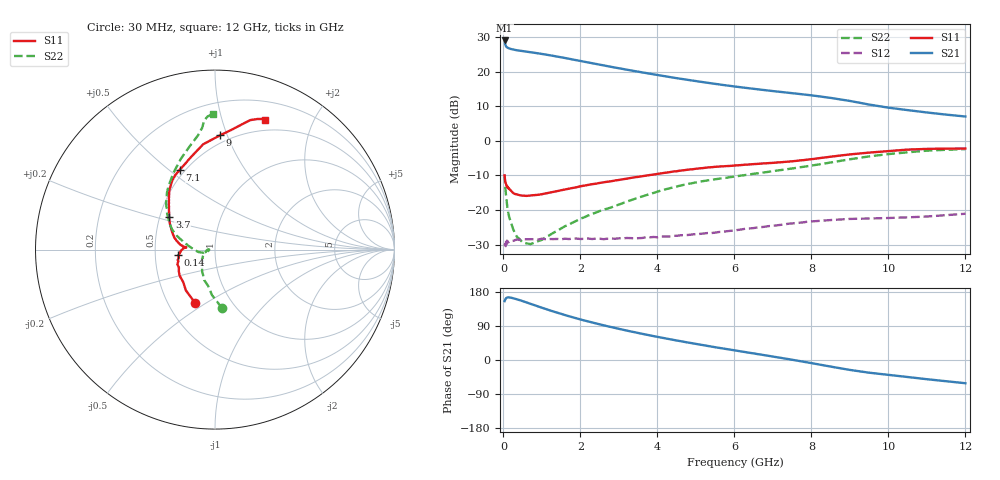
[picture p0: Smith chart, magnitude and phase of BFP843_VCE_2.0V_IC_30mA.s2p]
! Infineon Technologies  Discrete & RF Semiconductors
! BFP843
! VCE =  2.0 V,  IC =  30 mA
! Common Emitter S-Parameters:  Aug 2013
# GHz  S  MA  R  50
!  f  S11  S21  S12  S22
! GHz  MAG  ANG  MAG  ANG  MAG  ANG  MAG  ANG
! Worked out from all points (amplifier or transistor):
!   103 points, 30 MHz to 12 GHz, reference 50 ohm
!   highest |S21| = 29.0 dB at 30 MHz (marker M1)
!   |S21| within 3 dB of that: start of sweep to 455.3 MHz
!   unconditionally stable (mu >= 1): 79.34 MHz to 81.36 MHz; 98.17 MHz to 10.62 GHz
!   at 400 MHz: K = 1.03, MAG = 26.3 dB, |S12| = -28.6 dB
!   at 3.7 GHz: K = 1.36, MAG = 20.1 dB, |S12| = -27.9 dB
!   at 12 GHz: K = 0.85, MSG = 14.0 dB, |S12| = -21.0 dB
!   S11 on the Smith chart (normalised r, x): 30 MHz: 0.68, -0.45; 140 MHz: 0.66, -0.04; 3.7 GHz: 0.56, +0.23; 7.1 GHz: 0.47, +0.55; 9 GHz: 0.44, +0.94; 12 GHz: 0.38, +1.39
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0.03  0.3163 -110.7  28.09 155.3  0.0305 25.0  0.3289 -83.0
0.04  0.2791 -125.6  25.65 157.6  0.0323 18.6  0.2546 -93.7
0.05  0.2534 -134.3  24.39 160.8  0.0307 18.8  0.2042 -101.1
0.07  0.2349 -149.1  22.91 163.3  0.0367 14.3  0.1552 -115.4
0.1  0.2139 -162.6  22.18 164.9  0.0353 13.8  0.1114 -132.5
0.14  0.208 -171.1  21.66 165.2  0.0347 8.6  0.0838 -145.0
0.3  0.1708 177.0  20.52 161.7  0.0369 5.4  0.0463 -175.8
0.8  0.1647 175.8  18.67 144.9  0.0381 4.4  0.0338 -173.6
1.2  0.1788 174.3  17.19 131.2  0.0383 3.4  0.0436 -165.9
1.6  0.1988 171.0  15.68 118.6  0.0387 4.3  0.0587 -163.4
2.1  0.2258 165.5  13.86 104.3  0.0386 4.8  0.0789 -168.3
2.8  0.2614 156.7  11.68 86.9  0.0389 5.7  0.1094 -177.6
3.2  0.2845 151.3  10.65 77.7  0.0396 7.4  0.1329 175.6
3.7  0.3145 144.2  9.524 67.1  0.0405 9.5  0.1638 169.1
4.1  0.3396 139.1  8.729 59.1  0.0418 10.0  0.1923 164.2
5  0.3956 130.3  7.284 42.5  0.045 12.6  0.251 156.6
6.1  0.4443 123.1  5.997 23.9  0.0519 13.7  0.3106 146.7
7.1  0.4869 113.8  5.153 7.4  0.0603 11.7  0.3722 136.9
8.5  0.5906 96.4  4.165 -17.4  0.0719 2.7  0.4865 118.4
9  0.6371 87.5  3.764 -26.2  0.0747 -1.5  0.542 110.4
10.5  0.7475 74.8  2.776 -44.9  0.0787 -8.7  0.6828 96.0
12  0.775 68.9  2.244 -61.3  0.0887 -15.7  0.7573 90.8
